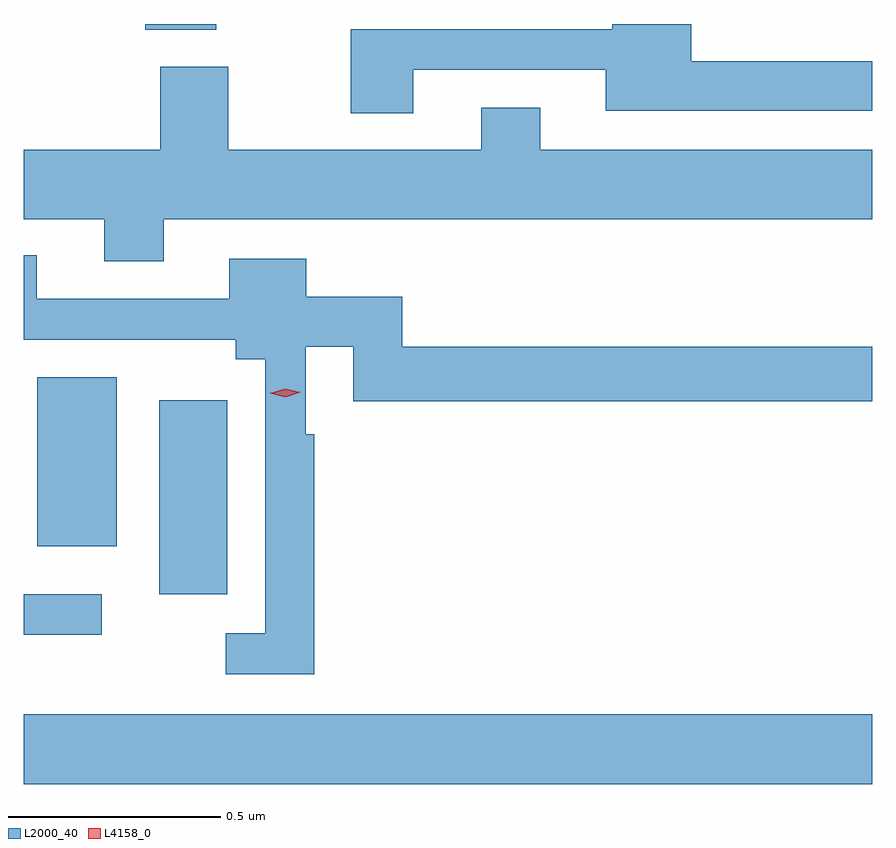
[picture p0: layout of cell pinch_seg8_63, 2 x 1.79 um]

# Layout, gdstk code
import gdstk
lib = gdstk.Library(unit=1e-6, precision=1e-09)
def R(c, l, rs):  # rectangles x0, y0, x1, y1
    for r in rs: c.add(gdstk.rectangle(r[:2], r[2:], *l))
def P(c, l, *ps):  # polygons
    for p in ps: c.add(gdstk.Polygon(p, *l))
L2000_40 = (2000, 40)
L4158_0 = (4158, 0)

pinch_seg8_63 = lib.new_cell('pinch_seg8_63')
R(pinch_seg8_63, L2000_40, [(985.111,1099.184,987.111,1099.348), (985.111,1099.536,985.294,1099.632), (985.43,1099.631,985.591,1100.089), (985.142,1099.745,985.33,1100.143), (985.397,1100.963,985.564,1100.976)])
P(pinch_seg8_63, L2000_40, [(986.029,1100.868),(986.483,1100.868),(986.483,1100.772),(987.111,1100.772),(987.111,1100.888),(986.684,1100.888),(986.684,1100.976),(986.498,1100.976),(986.498,1100.964),(985.882,1100.964),(985.882,1100.766),(986.029,1100.766)],
  [(985.441,1100.516),(987.111,1100.516),(987.111,1100.68),(986.329,1100.68),(986.329,1100.779),(986.189,1100.779),(986.189,1100.68),(985.593,1100.68),(985.593,1100.875),(985.433,1100.875),(985.433,1100.68),(985.111,1100.68),(985.111,1100.516),(985.301,1100.516),(985.301,1100.417),(985.441,1100.417)],
  [(985.796,1100.009),(985.776,1100.009),(985.776,1100.215),(985.887,1100.215),(985.887,1100.086),(987.111,1100.086),(987.111,1100.215),(986.003,1100.215),(986.003,1100.333),(985.777,1100.333),(985.777,1100.422),(985.595,1100.422),(985.595,1100.328),(985.141,1100.328),(985.141,1100.431),(985.111,1100.431),(985.111,1100.232),(985.61,1100.232),(985.61,1100.186),(985.68,1100.186),(985.68,1099.54),(985.587,1099.54),(985.587,1099.443),(985.796,1099.443)])
P(pinch_seg8_63, L4158_0, [(985.728,1100.096),(985.691,1100.105),(985.691,1100.105),(985.691,1100.105),(985.727,1100.116),(985.763,1100.108),(985.764,1100.108),(985.763,1100.108)])

lib.write_gds('pinch_seg8_63.gds')
